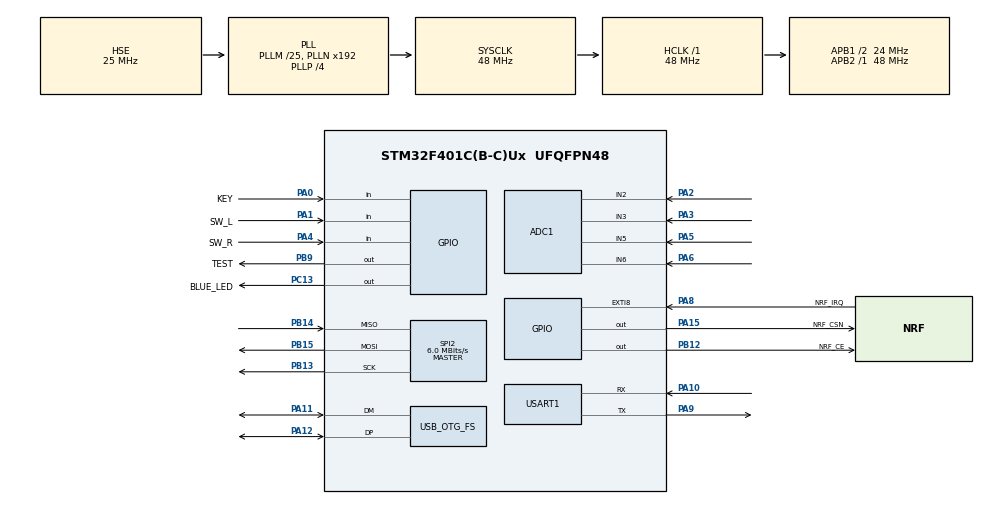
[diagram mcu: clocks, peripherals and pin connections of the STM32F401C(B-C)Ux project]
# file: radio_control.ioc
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ADC1.Channel-3\#ChannelRegularConversion=ADC_CHANNEL_2
ADC1.Channel-4\#ChannelRegularConversion=ADC_CHANNEL_3
ADC1.Channel-5\#ChannelRegularConversion=ADC_CHANNEL_5
ADC1.Channel-6\#ChannelRegularConversion=ADC_CHANNEL_6
ADC1.ContinuousConvMode=DISABLE
ADC1.DMAContinuousRequests=ENABLE
ADC1.EOCSelection=ADC_EOC_SEQ_CONV
ADC1.ExternalTrigConv=ADC_EXTERNALTRIGCONV_T3_TRGO
ADC1.NbrOfConversion=4
ADC1.NbrOfConversionFlag=1
ADC1.Rank-3\#ChannelRegularConversion=1
ADC1.Rank-4\#ChannelRegularConversion=2
ADC1.Rank-5\#ChannelRegularConversion=3
ADC1.Rank-6\#ChannelRegularConversion=4
ADC1.SamplingTime-3\#ChannelRegularConversion=ADC_SAMPLETIME_480CYCLES
ADC1.SamplingTime-4\#ChannelRegularConversion=ADC_SAMPLETIME_480CYCLES
ADC1.SamplingTime-5\#ChannelRegularConversion=ADC_SAMPLETIME_480CYCLES
ADC1.SamplingTime-6\#ChannelRegularConversion=ADC_SAMPLETIME_480CYCLES
ADC1.ScanConvMode=ENABLE
ADC1.master=1
Dma.ADC1.0.Direction=DMA_PERIPH_TO_MEMORY
Dma.ADC1.0.FIFOMode=DMA_FIFOMODE_DISABLE
Dma.ADC1.0.Instance=DMA2_Stream0
Dma.ADC1.0.MemDataAlignment=DMA_MDATAALIGN_HALFWORD
Dma.ADC1.0.MemInc=DMA_MINC_ENABLE
Dma.ADC1.0.Mode=DMA_CIRCULAR
Dma.ADC1.0.PeriphDataAlignment=DMA_PDATAALIGN_HALFWORD
Dma.ADC1.0.PeriphInc=DMA_PINC_DISABLE
Dma.ADC1.0.Priority=DMA_PRIORITY_LOW
Dma.Request0=ADC1
Mcu.Family=STM32F4
Mcu.Name=STM32F401C(B-C)Ux
Mcu.Package=UFQFPN48
NVIC.DMA2_Stream0_IRQn=true\:0\:0\:false\:false\:true\:false\:true\:true
NVIC.EXTI9_5_IRQn=true\:0\:0\:false\:false\:true\:true\:true\:true
NVIC.OTG_FS_IRQn=true\:0\:0\:false\:false\:true\:false\:true\:true
NVIC.PriorityGroup=NVIC_PRIORITYGROUP_4
NVIC.TIM3_IRQn=true\:0\:0\:false\:false\:true\:true\:true\:true
PA0-WKUP.GPIO_Label=KEY
PA0-WKUP.Signal=GPIO_Input
PA1.GPIO_Label=SW_L
PA1.GPIO_PuPd=GPIO_PULLUP
PA1.Signal=GPIO_Input
PA10.GPIO_Speed=GPIO_SPEED_FREQ_LOW
PA10.Mode=Asynchronous
PA10.Signal=USART1_RX
PA11.GPIO_Speed=GPIO_SPEED_FREQ_HIGH
PA11.Mode=Device_Only
PA11.Signal=USB_OTG_FS_DM
PA12.GPIO_Speed=GPIO_SPEED_FREQ_HIGH
PA12.Mode=Device_Only
PA12.Signal=USB_OTG_FS_DP
PA13.Mode=Serial_Wire
PA13.Signal=SYS_JTMS-SWDIO
PA14.Mode=Serial_Wire
PA14.Signal=SYS_JTCK-SWCLK
PA15.GPIO_Label=NRF_CSN
PA15.GPIO_Speed=GPIO_SPEED_FREQ_HIGH
PA15.Signal=GPIO_Output
PA2.Signal=ADCx_IN2
PA3.Signal=ADCx_IN3
PA4.GPIO_Label=SW_R
PA4.GPIO_PuPd=GPIO_PULLUP
PA4.Signal=GPIO_Input
PA5.Signal=ADCx_IN5
PA6.Signal=ADCx_IN6
PA8.GPIO_Label=NRF_IRQ
PA8.GPIO_ModeDefaultEXTI=GPIO_MODE_IT_FALLING
PA8.GPIO_PuPd=GPIO_NOPULL
PA8.Signal=GPXTI8
PA9.GPIO_Speed=GPIO_SPEED_FREQ_LOW
PA9.Mode=Asynchronous
PA9.Signal=USART1_TX
PB12.GPIO_Label=NRF_CE
PB12.GPIO_Speed=GPIO_SPEED_FREQ_HIGH
PB12.Signal=GPIO_Output
PB13.GPIO_Speed=GPIO_SPEED_FREQ_HIGH
PB13.Mode=Full_Duplex_Master
PB13.Signal=SPI2_SCK
PB14.GPIO_Speed=GPIO_SPEED_FREQ_HIGH
PB14.Mode=Full_Duplex_Master
PB14.Signal=SPI2_MISO
PB15.GPIO_Speed=GPIO_SPEED_FREQ_HIGH
PB15.Mode=Full_Duplex_Master
PB15.Signal=SPI2_MOSI
PB9.GPIO_Label=TEST
PB9.Signal=GPIO_Output
PC13-ANTI_TAMP.GPIO_Label=BLUE_LED
PC13-ANTI_TAMP.GPIO_PuPd=GPIO_PULLDOWN
PC13-ANTI_TAMP.Signal=GPIO_Output
PC14-OSC32_IN.Mode=LSE-External-Oscillator
PC14-OSC32_IN.Signal=RCC_OSC32_IN
PC15-OSC32_OUT.Mode=LSE-External-Oscillator
PC15-OSC32_OUT.Signal=RCC_OSC32_OUT
PH0\ -\ OSC_IN.Mode=HSE-External-Oscillator
PH0\ -\ OSC_IN.Signal=RCC_OSC_IN
PH1\ -\ OSC_OUT.Mode=HSE-External-Oscillator
PH1\ -\ OSC_OUT.Signal=RCC_OSC_OUT
ProjectManager.HeapSize=0x200
ProjectManager.StackSize=0x400
ProjectManager.TargetToolchain=Makefile
RCC.48MHZClocksFreq_Value=48000000
RCC.AHBFreq_Value=48000000
RCC.APB1CLKDivider=RCC_HCLK_DIV2
RCC.APB1Freq_Value=24000000
RCC.APB1TimFreq_Value=48000000
RCC.APB2Freq_Value=48000000
RCC.APB2TimFreq_Value=48000000
RCC.CortexFreq_Value=48000000
RCC.HCLKFreq_Value=48000000
RCC.HSE_VALUE=25000000
RCC.HSI_VALUE=16000000
RCC.PLLM=25
RCC.PLLP=RCC_PLLP_DIV4
RCC.SYSCLKFreq_VALUE=48000000
RCC.SYSCLKSource=RCC_SYSCLKSOURCE_PLLCLK
RCC.VCOOutputFreq_Value=192000000
SH.ADCx_IN2.0=ADC1_IN2,IN2
SH.ADCx_IN3.0=ADC1_IN3,IN3
SH.ADCx_IN5.0=ADC1_IN5,IN5
SH.ADCx_IN6.0=ADC1_IN6,IN6
SPI2.BaudRatePrescaler=SPI_BAUDRATEPRESCALER_4
SPI2.CalculateBaudRate=6.0 MBits/s
SPI2.Direction=SPI_DIRECTION_2LINES
SPI2.Mode=SPI_MODE_MASTER
SPI2.VirtualType=VM_MASTER
TIM3.Period=959
TIM3.Prescaler=999
TIM3.TIM_MasterOutputTrigger=TIM_TRGO_UPDATE
TIM3.TIM_MasterSlaveMode=TIM_MASTERSLAVEMODE_DISABLE
USART1.VirtualMode=VM_ASYNC
USB_DEVICE.CLASS_NAME_FS=CDC
USB_DEVICE.VirtualMode=Cdc
USB_DEVICE.VirtualModeFS=Cdc_FS
USB_OTG_FS.VirtualMode=Device_Only
VP_TIM3_VS_ClockSourceINT.Mode=Internal
VP_USB_DEVICE_VS_USB_DEVICE_CDC_FS.Mode=CDC_FS
board=custom

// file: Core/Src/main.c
/* USER CODE BEGIN Header */
/**
  ******************************************************************************
  * @file           : main.c
  * @brief          : Main program body
  ******************************************************************************
  * @attention
  *
  * Copyright (c) 2023 STMicroelectronics.
  * All rights reserved.
  *
  * This software is licensed under terms that can be found in the LICENSE file
  * in the root directory of this software component.
  * If no LICENSE file comes with this software, it is provided AS-IS.
  *
  ******************************************************************************
  */
/* USER CODE END Header */
#include "main.h"
#include "adc.h"
#include "dma.h"
#include "spi.h"
#include "tim.h"
#include "usart.h"
#include "usb_device.h"
#include "gpio.h"

/* USER CODE BEGIN Includes */
#include "usbd_cdc_if.h"
#include "dwt_delay.h"
#include "stdio.h"
#include "string.h"
#include "nrf24l01p.h"
#include "nrf_payload.h"
/* USER CODE END Includes */

/* USER CODE BEGIN PD */
#define TIMER_FREQ              50

#define ADC_CHANNEL_SIZE        4
#define MOVING_AVG_SAMPLE       5

#define RADIO_CYCLE             1
#define JOYSTICK_CYCLE          1
#define PRINT_MSG_CYCLE         1

#define JOYSTICK_RANGE          2048
#define JOYSTICK_ZERO_RANGE     150

#define THROTTLE_AJUSTMENT_RANGE        10.F
#define ANGLE_AJUSTMENT_RANGE           20.F /* degree */
#define GAIN_AJUSTMENT_RANGE            0.05F
#define MOTOR_AJUSTMENT_RANGE           5
#define HEIGHT_AJUSTMENT_RANGE          0.2F

#define MAX_MOTOR_DUTY          1999

#define JOYSTICK_TASK           (1U << 0)
#define RADIO_TASK              (1U << 1)
#define DECODE_ACK_TASK         (1U << 2)
#define MSG_TASK                (1U << 3)

#define SET_TASK_TRIGGER(TASK)          task_trigger |= (TASK)
#define CLEAR_TASK_TRIGGER(TASK)        task_trigger &= ~(TASK)
#define IS_TASK_TRIGGER(TASK)           (task_trigger & (TASK))

#define JOYSTICK_LX             (0)
#define JOYSTICK_LY             (1)
#define JOYSTICK_RX             (2)
#define JOYSTICK_RY             (3)

#define CONVERT_JOYSTICK_LEVEL(data, level) \
  if (data > 0) {                           \
          level = 1;                        \
  } else if (data < 0) {                    \
          level = -1;                       \
  } else {                                  \
          level = 0;                        \
  }

#define PRESS_BUTTON_L          (1U << 0)
#define PRESS_BUTTON_R          (1U << 1)

#define PARAM_AJUSTMENT_NONE    0
#define PARAM_AJUSTMENT_P       1
#define PARAM_AJUSTMENT_I       2
#define PARAM_AJUSTMENT_D       3
#define PARAM_AJUSTMENT_FAULT_RATIO 4

/* USER CODE END PD */

/* USER CODE BEGIN PV */
uint8_t tick;
uint16_t adc_val[4];
uint8_t task_trigger;
struct payload pl;
struct ack_payload ack_pl;
uint32_t lost_package;

struct joystick_raw {
  uint16_t LX;
  uint16_t LY;
  uint16_t RX;
  uint16_t RY;
} joystick_raw_data;

struct command {
  uint16_t throttle;
  float sp_roll;
  float sp_pitch;
  float sp_yaw_rate;
  float sp_height;
  float P;
  float I;
  float D;
  float fault_radio;
  uint8_t mode;
  uint8_t param_ajustment;
} cmd;

struct uav {
  float roll;
  float pitch;
  float yaw;
  uint16_t motor[4];
  uint16_t throttle;
  float height;
  float voltage;
  float current;
  uint8_t rec_status;
  uint8_t gps_sv_status;
  uint16_t gps_pAcc;
} uav_data;

volatile uint8_t tx_finish;
volatile uint8_t tx_timeout;
/* USER CODE END PV */

void SystemClock_Config(void);
/* USER CODE BEGIN PFP */
static void joystick_task(void);
static void radio_task(void);
static void decode_ack_task(void);
static void msg_task(void);
/* USER CODE END PFP */

int main(void)
{

  /* MCU Configuration--------------------------------------------------------*/

  /* Reset of all peripherals, Initializes the Flash interface and the Systick. */
  HAL_Init();

  /* Configure the system clock */
  SystemClock_Config();

  /* Initialize all configured peripherals */
  MX_GPIO_Init();
  MX_DMA_Init();
  MX_ADC1_Init();
  MX_SPI2_Init();
  MX_USB_DEVICE_Init();
  MX_USART1_UART_Init();
  MX_TIM3_Init();
  /* USER CODE BEGIN 2 */
  DWT_Init();
  /* Initialize variable */
  tick = 0;
  memset(adc_val, 0, sizeof(adc_val));
  task_trigger = 0;
  memset(&pl, 0, sizeof(struct payload));
  memset(&ack_pl, 0, sizeof(struct ack_payload));
  memset(&joystick_raw_data, 0, sizeof(struct joystick_raw));
  memset(&cmd, 0, sizeof(struct command));
  cmd.P = 0.5F;
  cmd.I = 0.05F;
  cmd.D = 20.F;
  memset(&uav_data, 0, sizeof(struct uav));

  HAL_Delay(1000);

  struct nrf24l01p_cfg nrf24l01_param = {
    .mode = PTX_MODE,
    .crc_len = CRC_TWO_BYTES,
    .air_data_rate = _2Mbps,
    .output_power = _0dBm,
    .channel = 2502,
    .address_width = 5,
    .auto_retransmit_count = 6,
    .auto_retransmit_delay = 750
  };
  if (nrf24l01p_init(&nrf24l01_param)) {
    while (1) {
      HAL_GPIO_TogglePin(BLUE_LED_GPIO_Port, BLUE_LED_Pin);
      HAL_Delay(1000);
    }
  }
  HAL_TIM_Base_Start_IT(&htim3);
  HAL_ADC_Start_DMA(&hadc1, (uint32_t *)adc_val, ADC_CHANNEL_SIZE);
  /* USER CODE END 2 */

  /* Infinite loop */
  /* USER CODE BEGIN WHILE */
  while (1)
  {
    while (1) {
      if (IS_TASK_TRIGGER(JOYSTICK_TASK))
        joystick_task();

      if (IS_TASK_TRIGGER(RADIO_TASK))
        radio_task();

      if (IS_TASK_TRIGGER(DECODE_ACK_TASK))
        decode_ack_task();

      if (IS_TASK_TRIGGER(MSG_TASK))
        msg_task();
    }
    /* USER CODE END WHILE */

  }
}

void SystemClock_Config(void)
{
  RCC_OscInitTypeDef RCC_OscInitStruct = {0};
  RCC_ClkInitTypeDef RCC_ClkInitStruct = {0};

  /** Configure the main internal regulator output voltage
  */
  __HAL_RCC_PWR_CLK_ENABLE();
  __HAL_PWR_VOLTAGESCALING_CONFIG(PWR_REGULATOR_VOLTAGE_SCALE2);

  /** Initializes the RCC Oscillators according to the specified parameters
  * in the RCC_OscInitTypeDef structure.
  */
  RCC_OscInitStruct.OscillatorType = RCC_OSCILLATORTYPE_HSE;
  RCC_OscInitStruct.HSEState = RCC_HSE_ON;
  RCC_OscInitStruct.PLL.PLLState = RCC_PLL_ON;
  RCC_OscInitStruct.PLL.PLLSource = RCC_PLLSOURCE_HSE;
  RCC_OscInitStruct.PLL.PLLM = 25;
  RCC_OscInitStruct.PLL.PLLN = 192;
  RCC_OscInitStruct.PLL.PLLP = RCC_PLLP_DIV4;
  RCC_OscInitStruct.PLL.PLLQ = 4;
  if (HAL_RCC_OscConfig(&RCC_OscInitStruct) != HAL_OK)
  {
    Error_Handler();
  }

  /** Initializes the CPU, AHB and APB buses clocks
  */
  RCC_ClkInitStruct.ClockType = RCC_CLOCKTYPE_HCLK|RCC_CLOCKTYPE_SYSCLK
                              |RCC_CLOCKTYPE_PCLK1|RCC_CLOCKTYPE_PCLK2;
  RCC_ClkInitStruct.SYSCLKSource = RCC_SYSCLKSOURCE_PLLCLK;
  RCC_ClkInitStruct.AHBCLKDivider = RCC_SYSCLK_DIV1;
  RCC_ClkInitStruct.APB1CLKDivider = RCC_HCLK_DIV2;
  RCC_ClkInitStruct.APB2CLKDivider = RCC_HCLK_DIV1;

  if (HAL_RCC_ClockConfig(&RCC_ClkInitStruct, FLASH_LATENCY_1) != HAL_OK)
  {
    Error_Handler();
  }
}

/* USER CODE BEGIN 4 */
/* Interrupt callback */
void HAL_TIM_PeriodElapsedCallback(TIM_HandleTypeDef *htim)
{
  if (htim->Instance == htim3.Instance) {
    tick++;
    if (tick == TIMER_FREQ)
      tick = 0;

    if (!(tick % RADIO_CYCLE))
      SET_TASK_TRIGGER(RADIO_TASK);

    if (!(tick % PRINT_MSG_CYCLE))
      SET_TASK_TRIGGER(MSG_TASK);
    tx_timeout++;
  }
}

void HAL_ADC_ConvCpltCallback(ADC_HandleTypeDef* hadc)
{
  static uint8_t adc_count = 0;
  static uint32_t total[4] = {0};

  adc_count++;

  total[0] += (uint32_t)adc_val[0];
  total[1] += (uint32_t)adc_val[1];
  total[2] += (uint32_t)adc_val[2];
  total[3] += (uint32_t)adc_val[3];

  if (adc_count == JOYSTICK_CYCLE) {
    /* Average temperory samples */
    joystick_raw_data.LX = total[0] / JOYSTICK_CYCLE;
    joystick_raw_data.LY = total[1] / JOYSTICK_CYCLE;
    joystick_raw_data.RX = total[2] / JOYSTICK_CYCLE;
    joystick_raw_data.RY = total[3] / JOYSTICK_CYCLE;
    adc_count = 0;
    memset(total, 0, sizeof(total));
    SET_TASK_TRIGGER(JOYSTICK_TASK);
  }
}

void HAL_GPIO_EXTI_Callback(uint16_t GPIO_Pin)
{
  if (GPIO_Pin == NRF_IRQ_Pin) {
    if (nrf24l01p_tx_irq((uint8_t *)&ack_pl)) {
      HAL_GPIO_WritePin(BLUE_LED_GPIO_Port, BLUE_LED_Pin, GPIO_PIN_RESET);
      lost_package++;
    } else {
      HAL_GPIO_TogglePin(BLUE_LED_GPIO_Port, BLUE_LED_Pin);
      SET_TASK_TRIGGER(DECODE_ACK_TASK);
    }
    tx_finish = 1;
  }
}

/* Task function */
float normalize_joystick(uint16_t val)
{
  float tmp = (float)val;

  if ((tmp > (JOYSTICK_RANGE + JOYSTICK_ZERO_RANGE)) ||
      (tmp < (JOYSTICK_RANGE - JOYSTICK_ZERO_RANGE))) {
          tmp = JOYSTICK_RANGE - tmp;
          tmp /= JOYSTICK_RANGE;
  } else {
          tmp = 0;
  }
  return tmp;
}

static void joystick_task(void) {
  static float LX = 0.F;
  static float LY = 0.F;
  static float RX = 0.F;
  static float RY = 0.F;
  /* push: +1, pull: -1, zero: 0 */
  static int8_t last_LX_level = 0;
  static int8_t last_LY_level = 0;
  static int8_t last_RX_level = 0;
  static int8_t last_RY_level = 0;
  static uint8_t button = 0;
  static uint8_t last_botton = 0;
  static int32_t tmp;

  /* Normalize raw data */
  LX = normalize_joystick(joystick_raw_data.LX);
  LY = normalize_joystick(joystick_raw_data.LY);
  RX = normalize_joystick(joystick_raw_data.RX);
  RY = normalize_joystick(joystick_raw_data.RY);
  button = HAL_GPIO_ReadPin(SW_L_GPIO_Port, SW_L_Pin) ? 0 : PRESS_BUTTON_L;
  button |= HAL_GPIO_ReadPin(SW_R_GPIO_Port, SW_R_Pin) ? 0 : PRESS_BUTTON_R;

  /* Inplement botton data if it has been click once (failing edge) */
  if (!(button & PRESS_BUTTON_L) && (last_botton & PRESS_BUTTON_L)) {
    cmd.mode++;
    if (cmd.mode > 1) {
      cmd.mode = 0;
    }
  }
  if (!(button & PRESS_BUTTON_R) && (last_botton & PRESS_BUTTON_R)) {
    cmd.param_ajustment++;
    if (cmd.param_ajustment > 4)
      cmd.param_ajustment = 0;
  }
  last_botton = (button & PRESS_BUTTON_L) ? PRESS_BUTTON_L : 0;
  last_botton |= (button & PRESS_BUTTON_R) ? PRESS_BUTTON_R : 0;
  /* Inplement command by joystick data */
  tmp = cmd.throttle;
  tmp += (int32_t)(LY * THROTTLE_AJUSTMENT_RANGE);

  if (tmp > MAX_MOTOR_DUTY)
    tmp = MAX_MOTOR_DUTY;
  else if (tmp < 0)
    tmp = 0;

  cmd.throttle = (uint16_t)tmp;

  switch (cmd.param_ajustment) {
  case PARAM_AJUSTMENT_NONE:
    cmd.sp_roll = RX * ANGLE_AJUSTMENT_RANGE;
    cmd.sp_pitch = -RY * ANGLE_AJUSTMENT_RANGE;
    /* Yaw setpoint(on uav) = yaw(on uav) + yaw_target(radio control)
     * yaw_target = LX * ANGLE_AJUSTMENT_RANGE / TIMER_FREQ * RADIO_CYCLE
     */
    cmd.sp_yaw_rate = LX * ANGLE_AJUSTMENT_RANGE / TIMER_FREQ * RADIO_CYCLE;
    break;
  case PARAM_AJUSTMENT_P:
    if ((RY == 0) && (last_RY_level != 0)) {
      tmp = (int32_t)(cmd.P / GAIN_AJUSTMENT_RANGE);
      tmp += (int32_t)last_RY_level;
      cmd.P = tmp * GAIN_AJUSTMENT_RANGE;
    }
    if (cmd.P < 0)
      cmd.P = 0;
    break;
  case PARAM_AJUSTMENT_I:
    if ((RY == 0) && (last_RY_level != 0)) {
      tmp = (int32_t)(cmd.I / GAIN_AJUSTMENT_RANGE);
      tmp += (int32_t)last_RY_level;
      cmd.I = tmp * GAIN_AJUSTMENT_RANGE;
    }
    if (cmd.I < 0)
      cmd.I = 0;
    break;
  case PARAM_AJUSTMENT_D:
    if ((RY == 0) && (last_RY_level != 0)){
      tmp = (int32_t)cmd.D;
      tmp += (int32_t)last_RY_level;
      cmd.D = tmp;
    }
    if (cmd.D < 0)
      cmd.D = 0;
    break;
  case PARAM_AJUSTMENT_FAULT_RATIO:
    if ((RY == 0) && (last_RY_level != 0)) {
      tmp = (int32_t)(cmd.fault_radio / GAIN_AJUSTMENT_RANGE);
      tmp += (int32_t)last_RY_level;
      cmd.fault_radio = (float)tmp * GAIN_AJUSTMENT_RANGE;
    }
    if (cmd.fault_radio < 0)
      cmd.fault_radio = 0;
    else if (cmd.fault_radio > 1)
      cmd.fault_radio = 1;
    break;
}
  CONVERT_JOYSTICK_LEVEL(LX, last_LX_level);
  CONVERT_JOYSTICK_LEVEL(LY, last_LY_level);
  CONVERT_JOYSTICK_LEVEL(RX, last_RX_level);
  CONVERT_JOYSTICK_LEVEL(RY, last_RY_level);

  /* End task */
  CLEAR_TASK_TRIGGER(JOYSTICK_TASK);
}

static void radio_task(void) {
  ENCODE_PAYLOAD_THROTTLE(cmd.throttle, pl.throttle);
  ENCODE_PAYLOAD_DEGREE(cmd.sp_roll, pl.sp_roll);
  ENCODE_PAYLOAD_DEGREE(cmd.sp_pitch, pl.sp_pitch);
  ENCODE_PAYLOAD_DEGREE(cmd.sp_yaw_rate, pl.sp_yaw_rate);
  ENCODE_PAYLOAD_HEIGHT(cmd.sp_height, pl.sp_height);
  ENCODE_PAYLOAD_CTRL_PI_GAIN(cmd.P, pl.P);
  ENCODE_PAYLOAD_CTRL_PI_GAIN(cmd.I, pl.I);
  ENCODE_PAYLOAD_CTRL_D_GAIN(cmd.D, pl.D);
  ENCODE_PAYLOAD_MODE(cmd.mode, pl.mode);
  ENCODE_PAYLOAD_FAULT_RATIO(cmd.fault_radio, pl.fault_ratio);

  nrf24l01p_transmit((uint8_t *)&pl, PAYLOAD_WIDTH);
  tx_finish = 0;
  tx_timeout = 0;

  while ((tx_finish == 0) && (tx_timeout < 5));

  /* End task */
  CLEAR_TASK_TRIGGER(RADIO_TASK);
}

static void decode_ack_task(void) {
  DECODE_PAYLOAD_DEGREE(ack_pl.roll, uav_data.roll);
  DECODE_PAYLOAD_DEGREE(ack_pl.pitch, uav_data.pitch);
  DECODE_PAYLOAD_DEGREE(ack_pl.yaw, uav_data.yaw);
  DECODE_PAYLOAD_MOTOR(ack_pl.motor[0], uav_data.motor[0]);
  DECODE_PAYLOAD_MOTOR(ack_pl.motor[1], uav_data.motor[1]);
  DECODE_PAYLOAD_MOTOR(ack_pl.motor[2], uav_data.motor[2]);
  DECODE_PAYLOAD_MOTOR(ack_pl.motor[3], uav_data.motor[3]);
  DECODE_PAYLOAD_THROTTLE(ack_pl.throttle, uav_data.throttle);
  DECODE_PAYLOAD_HEIGHT(ack_pl.height, uav_data.height);
  DECODE_PAYLOAD_VOLTAGE(ack_pl.voltage, uav_data.voltage);
  DECODE_PAYLOAD_CURRENT(ack_pl.current, uav_data.current);
  DECODE_PAYLOAD_REC_STATUS(ack_pl.rec_status, uav_data.rec_status);
  DECODE_PAYLOAD_GPS_SV_STATUS(ack_pl.gps_sv_status, uav_data.gps_sv_status);
  DECODE_PAYLOAD_GPS_PACC(ack_pl.gps_pAcc, uav_data.gps_pAcc);

  /* End task */
  CLEAR_TASK_TRIGGER(DECODE_ACK_TASK);
}

static void msg_task(void) {
  static char msg[512];
  static uint16_t len;

  len = snprintf(msg, 512,
            "LX: %d, LY: %d, RX: %d, RY: %d\r\n"
            "command:\r\n"
            "throttle: %d, sp_r: %.2f, sp_p: %.2f, sp yaw rate: %.2f\r\n"
            "sp_h: %.2f, P1: %.2f, I1: %.2f, D1: %.2f, fault radio: %.2f\r\n"
            "mode: %d, param ajustment mode: %d\r\n"
            "uav data:\r\n"
            "r: %.2f, p: %.2f, y: %.2f\r\n"
            "throttle: %d, m0: %d, m1: %d, m2: %d, m3: %d\r\n"
            "height: %.2f, V: %.1f, I: %.1f\r\n"
            "sd_rec: %d, sv num: %d, gps pAcc: %d\r\n"
            "lost package: %ld\r\n",
            joystick_raw_data.LX, joystick_raw_data.LY,
            joystick_raw_data.RX, joystick_raw_data.RY,
            cmd.throttle, cmd.sp_roll, cmd.sp_pitch, cmd.sp_yaw_rate,
            cmd.sp_height, cmd.P, cmd.I, cmd.D, cmd.fault_radio,
            cmd.mode, cmd.param_ajustment,
            uav_data.roll, uav_data.pitch, uav_data.yaw,
            uav_data.throttle, uav_data.motor[0], uav_data.motor[1],
            uav_data.motor[2], uav_data.motor[3],
            uav_data.height, uav_data.voltage, uav_data.current,
            uav_data.rec_status, uav_data.gps_sv_status, uav_data.gps_pAcc,
            lost_package);
  CDC_Transmit_FS((uint8_t *)msg, len);
  len = snprintf(msg, 512, "0.0,0.0,0.0,0.0,0.0,0.0,%.2f,%.2f,%.2f\n",
                           uav_data.roll, uav_data.pitch, uav_data.yaw);
  HAL_UART_Transmit(&huart1, (uint8_t *)msg, len, 5);

  /* End task */
  CLEAR_TASK_TRIGGER(MSG_TASK);
}
/* USER CODE END 4 */

void Error_Handler(void)
{
  __disable_irq();
  while (1)
  {
  }
}
